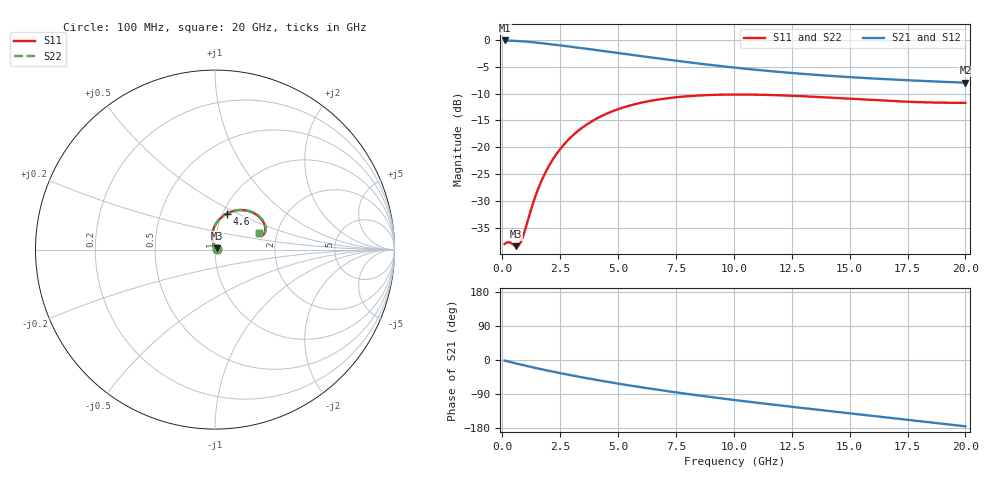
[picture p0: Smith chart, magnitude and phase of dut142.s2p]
! Touchstone file exported from HFSS 2024.1.0
!  File:  C:/UserFiles/LocalFiles/RDL_TSV_Batchsim/temp_RDL_TSV_142_1779429990.aedt
!  Generated:  02:18:21 PM May 22, 2026
!  Design:  RDL_TSV
!  Project:  temp_RDL_TSV_142_1779429990
!  Setup:  Setup1
!  Solution:  Sweep
! Variables:
!  dtsv = 9.52um
!  hbump = 3um
!  htsv = 52.2um
!  ldown = 224.19um
!  lrdl = 514.97um
!  p = 40
!  p1 = 53.96um
!  rhole = 10um
!  subl = 2732.45um
!  t = 450um
!  tdown = 2.44um
!  trdl = 4.52um
!  viad = 10um
!  wdown = 15.49um
!  wrdl = 29.79um
!  xbump = 18um
# GHz S MA R 50.000000
! Terminal data exported
! Port[1] = TM1_1_T1
! Port[2] = TM1_4_T1
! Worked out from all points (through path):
!   200 points, 100 MHz to 20 GHz, reference 50 ohm
!   highest |S21| = -0.11 dB at 100 MHz (marker M1); lowest = -8.0 dB at 20 GHz (marker M2)
!   group delay of S21, straight-line fit = 22.9 ps
!   lowest |S11| = -38.4 dB at 600 MHz (marker M3), VSWR 1.02, Z = 50.9 + j0.826 ohm
!   |S11| at or under -10 dB: start of sweep to end of sweep
!   |S22| runs from -38.4 to -10.1 dB; largest |S21 - S12| = 8.7e-15
!   S11 on the Smith chart (normalised r, x): 100 MHz: 1.03, +0.00; 4.6 GHz: 1.05, +0.44; 20 GHz: 1.60, +0.32
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0.1  0.01264 8.2  0.9871 -1.6  0.9871 -1.6  0.01264 8.2
! Gamma 0 0 0 0
! Port Impedance 50 0 50 0
0.3  0.01311 18.9  0.984 -4.6  0.984 -4.6  0.0131 19.0
0.6  0.01205 42.3  0.9772 -9.1  0.9772 -9.1  0.01203 42.5
0.7  0.01222 54.4  0.9743 -10.6  0.9743 -10.6  0.01221 54.6
0.8  0.01313 67.1  0.9711 -12.0  0.9711 -12.0  0.01313 67.3
0.9  0.01491 78.5  0.9675 -13.5  0.9675 -13.5  0.01493 78.7
1.3  0.02895 101.6  0.951 -19.1  0.951 -19.1  0.02904 101.8
1.5  0.03856 104.6  0.9415 -21.9  0.9415 -21.9  0.0387 104.7
1.7  0.04918 105.1  0.9314 -24.6  0.9314 -24.6  0.04937 105.2
2  0.06632 103.5  0.9157 -28.5  0.9157 -28.5  0.06658 103.6
2.3  0.08426 100.5  0.8994 -32.2  0.8994 -32.2  0.0846 100.6
2.7  0.1085 95.7  0.8775 -37.1  0.8775 -37.1  0.109 95.8
3.5  0.1551 85.3  0.8336 -46.3  0.8336 -46.3  0.1558 85.4
4.6  0.2098 72.0  0.7752 -58.2  0.7752 -58.2  0.2108 72.1
5.6  0.248 61.5  0.7248 -68.2  0.7248 -68.2  0.2492 61.6
6.8  0.2798 50.8  0.6693 -79.3  0.6693 -79.3  0.2813 50.9
8.4  0.303 39.5  0.6051 -92.9  0.6051 -92.9  0.3047 39.6
10.1  0.3102 30.3  0.5499 -106.1  0.5499 -106.1  0.3121 30.4
11.7  0.3064 24.1  0.5089 -117.8  0.5089 -117.8  0.3085 24.1
13.4  0.2959 19.6  0.4749 -129.7  0.4749 -129.7  0.2981 19.6
16.7  0.2706 16.9  0.4292 -152.3  0.4292 -152.3  0.2729 16.8
20  0.2598 20.6  0.3994 -175.0  0.3994 -175.0  0.2618 20.4
